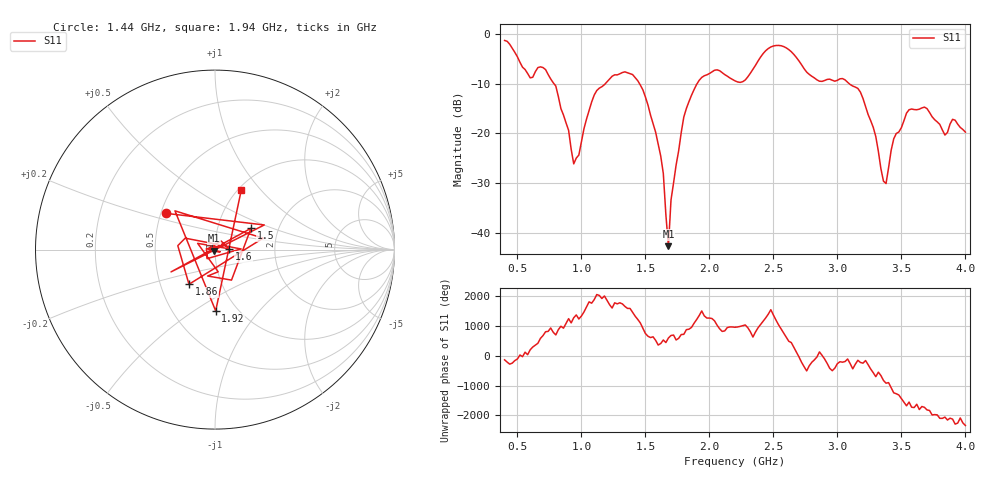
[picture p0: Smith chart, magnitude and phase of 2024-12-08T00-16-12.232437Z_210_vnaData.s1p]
!Created with skrf (http://scikit-rf.org).
# Hz S RI R 50.0
!freq ReS11 ImS11
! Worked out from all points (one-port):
!   181 points, 400 MHz to 4 GHz, reference 50 ohm
!   lowest |S11| = -42.7 dB at 1.68 GHz (marker M1), VSWR 1.01, Z = 49.6 - j0.631 ohm
!   |S11| at or under -10 dB: 785.7 MHz to 1.187 GHz (401.3 MHz wide, 40.7 % of centre); 1.454 GHz to 1.904 GHz (449.8 MHz wide, 26.8 % of centre); 3.092 GHz to end of sweep
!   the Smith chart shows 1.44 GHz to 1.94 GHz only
!   S11 on the Smith chart (normalised r, x): 1.44 GHz: 0.53, +0.24; 1.5 GHz: 1.45, +0.36; 1.6 GHz: 1.17, +0.01; 1.86 GHz: 0.70, -0.29; 1.92 GHz: 0.80, -0.62; 1.94 GHz: 1.03, +0.80
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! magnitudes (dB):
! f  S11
! 400 MHz  -1.3
! 600 MHz  -8.8
! 720 MHz  -7.2
! 860 MHz  -16.3
! 940 MHz  -26.1
! 1.1 GHz  -12.3
! 1.3 GHz  -8.0
! 1.44 GHz  -9.4
! 1.5 GHz  -12.7
! 1.6 GHz  -22.2
! 1.64 GHz  -28.1
! 1.68 GHz  -42.7
! 1.7 GHz  -33.4
! 1.76 GHz  -23.5
! 1.8 GHz  -16.7
! 1.86 GHz  -12.3
! 1.92 GHz  -9.3
! 1.94 GHz  -8.7
! 2.2 GHz  -9.4
! 2.48 GHz  -2.6
! 2.66 GHz  -4.1
! 2.84 GHz  -9.2
! 3.1 GHz  -10.2
! 3.2 GHz  -13.0
! 3.38 GHz  -30.1
! 3.44 GHz  -21.1
! 3.56 GHz  -15.2
! 4 GHz  -19.7
